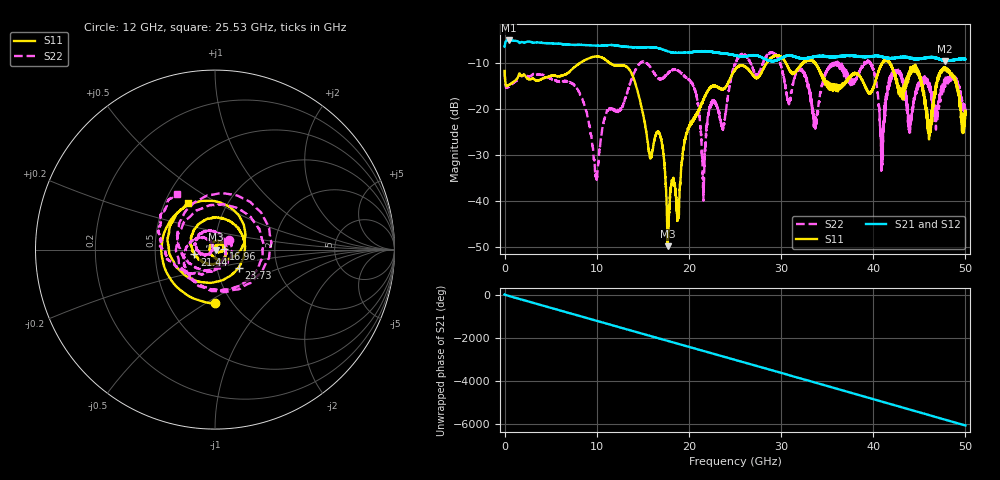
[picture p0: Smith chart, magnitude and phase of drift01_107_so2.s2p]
!Created with skrf (http://scikit-rf.org).
# Hz S RI R 50.0
!freq ReS11 ImS11 ReS21 ImS21 ReS12 ImS12 ReS22 ImS22
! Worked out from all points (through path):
!   10001 points, 300 kHz to 50 GHz, reference 50 ohm
!   highest |S21| = -5.05 dB at 425.3 MHz (marker M1); lowest = -9.6 dB at 47.75 GHz (marker M2)
!   group delay of S21, straight-line fit = 336 ps
!   lowest |S11| = -49.9 dB at 17.68 GHz (marker M3), VSWR 1.01, Z = 50.3 - j0.0547 ohm
!   |S11| at or under -10 dB: start of sweep to 8.153 GHz; 11.43 GHz to 28.42 GHz (16.99 GHz wide, 85.3 % of centre); 41.81 GHz to end of sweep (the widest 3 of 14)
!   |S22| runs from -40.0 to -7.6 dB; largest |S21 - S12| = 0.015
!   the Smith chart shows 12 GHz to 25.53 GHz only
!   S11 on the Smith chart (normalised r, x): 12 GHz: 0.84, -0.55; 16.96 GHz: 1.10, +0.01; 21.44 GHz: 0.79, -0.04; 23.73 GHz: 1.27, -0.26; 25.53 GHz: 0.66, +0.37
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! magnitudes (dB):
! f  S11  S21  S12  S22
! 300 kHz  -11.7  -6.4  -6.5  -11.7
! 425.3 MHz  -14.8  -5.1  -5.1  -15.1
! 8.335 GHz  -9.8  -6.0  -6.0  -17.5
! 9.945 GHz  -8.6  -6.2  -6.2  -34.7
! 12 GHz  -10.5  -6.1  -6.1  -20.4
! 16.67 GHz  -24.9  -6.7  -6.7  -13.3
! 16.96 GHz  -26.3  -6.9  -6.9  -13.3
! 17.68 GHz  -49.9  -7.4  -7.4  -12.4
! 20.5 GHz  -22.3  -7.5  -7.5  -15.0
! 21.44 GHz  -18.6  -7.4  -7.4  -30.4
! 22.47 GHz  -15.1  -7.5  -7.5  -19.2
! 23.73 GHz  -15.6  -7.8  -7.9  -24.1
! 25 GHz  -11.4  -8.3  -8.3  -10.3
! 25.53 GHz  -10.5  -8.5  -8.5  -8.5
! 33.34 GHz  -9.4  -8.7  -8.7  -19.2
! 39.48 GHz  -16.3  -8.6  -8.7  -9.9
! 40.95 GHz  -10.2  -8.6  -8.5  -28.9
! 41.67 GHz  -9.6  -8.8  -9.0  -14.8
! 44.76 GHz  -11.6  -9.1  -8.9  -14.9
! 46.11 GHz  -23.7  -8.8  -8.8  -15.5
! 47.75 GHz  -11.4  -9.6  -9.5  -14.3
! 50 GHz  -21.0  -9.1  -9.1  -20.4
